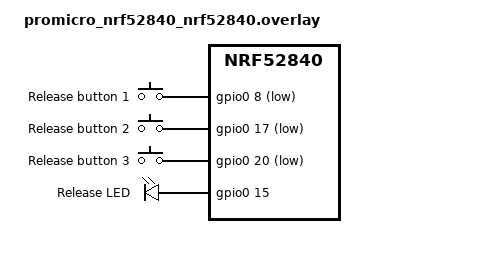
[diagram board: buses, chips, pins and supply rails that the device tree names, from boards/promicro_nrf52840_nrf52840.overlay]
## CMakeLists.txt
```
cmake_minimum_required(VERSION 3.20.0)
find_package(Zephyr REQUIRED HINTS $ENV{ZEPHYR_BASE})
project(halloween_release_tester)

target_sources(app PRIVATE
    src/main.c
    ../../common/fota.c
)
target_include_directories(app PRIVATE ../../common)
```

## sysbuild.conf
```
# Enable MCUboot so the app can be updated over BLE (nRF Connect Device Manager)
SB_CONFIG_BOOTLOADER_MCUBOOT=y
```

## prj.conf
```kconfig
CONFIG_GPIO=y

CONFIG_BT=y
CONFIG_BT_OBSERVER=y
CONFIG_BT_BROADCASTER=y
CONFIG_BT_DEVICE_NAME="ReleaseTester"

CONFIG_ENTROPY_GENERATOR=y

CONFIG_LOG=y
CONFIG_LOG_DEFAULT_LEVEL=3
# FOTA over BLE (MCUboot + MCUmgr SMP), updated from the nRF Connect Device Manager app
CONFIG_BT_PERIPHERAL=y
CONFIG_BT_MAX_CONN=1
CONFIG_BOOTLOADER_MCUBOOT=y
CONFIG_NET_BUF=y
CONFIG_ZCBOR=y
CONFIG_CRC=y
CONFIG_FLASH=y
CONFIG_FLASH_MAP=y
CONFIG_STREAM_FLASH=y
CONFIG_IMG_MANAGER=y
CONFIG_MCUMGR=y
CONFIG_MCUMGR_GRP_IMG=y
CONFIG_MCUMGR_GRP_OS=y
CONFIG_MCUMGR_GRP_OS_MCUMGR_PARAMS=y
CONFIG_MCUMGR_TRANSPORT_BT=y
CONFIG_MCUMGR_TRANSPORT_BT_CONN_PARAM_CONTROL=y
CONFIG_MCUMGR_TRANSPORT_BT_REASSEMBLY=y
CONFIG_MCUMGR_TRANSPORT_NETBUF_SIZE=2475
CONFIG_MCUMGR_TRANSPORT_WORKQUEUE_STACK_SIZE=4608
CONFIG_SYSTEM_WORKQUEUE_STACK_SIZE=2304
CONFIG_BT_L2CAP_TX_MTU=498
CONFIG_BT_BUF_ACL_RX_SIZE=502
CONFIG_BT_BUF_ACL_TX_SIZE=502
CONFIG_BT_CTLR_DATA_LENGTH_MAX=251
```

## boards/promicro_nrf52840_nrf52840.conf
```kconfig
CONFIG_USE_SEGGER_RTT=y
CONFIG_LOG_BACKEND_RTT=y
CONFIG_LOG_BACKEND_UART=n
CONFIG_SEGGER_RTT_BUFFER_SIZE_UP=4096
CONFIG_LOG_BUFFER_SIZE=4096
```

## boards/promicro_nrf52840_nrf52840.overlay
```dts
/*
 * Three buttons, each between its GPIO and GND (internal pull-ups): P0.08, P0.17, P0.20.
 * No LCD/keypad on this board. LED: P0.15 (the Pro Micro's LED, assumed active high).
 */
/ {
    release_buttons {
        compatible = "gpio-keys";
        release_button1: release_button_1 {
            gpios = <&gpio0 8 (GPIO_PULL_UP | GPIO_ACTIVE_LOW)>;
            label = "Release button 1";
        };
        release_button2: release_button_2 {
            gpios = <&gpio0 17 (GPIO_PULL_UP | GPIO_ACTIVE_LOW)>;
            label = "Release button 2";
        };
        release_button3: release_button_3 {
            gpios = <&gpio0 20 (GPIO_PULL_UP | GPIO_ACTIVE_LOW)>;
            label = "Release button 3";
        };
    };

    release_leds {
        compatible = "gpio-leds";
        release_led: release_led {
            gpios = <&gpio0 15 GPIO_ACTIVE_HIGH>;
            label = "Release LED";
        };
    };

    aliases {
        sw0 = &release_button1;
        sw1 = &release_button2;
        sw2 = &release_button3;
        led0 = &release_led;
    };
};
```

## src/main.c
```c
/* Pretends to be station 5: any button sends MSG_RELEASE_CANDY with a new session
 * and advertises it until the dispenser answers with MSG_CANDY_DONE. */
#include <stdbool.h>
#include <stdint.h>
#include <string.h>

#include <zephyr/kernel.h>
#include <zephyr/drivers/gpio.h>
#include <zephyr/bluetooth/bluetooth.h>
#include <zephyr/logging/log.h>
#include <zephyr/random/random.h>

#include "fota.h"

LOG_MODULE_REGISTER(tester, LOG_LEVEL_INF);

/* Protocol shared with the stations (see ../stations/src/main.c). */
#define HALLOWEEN_SERVICE_UUID 0xFFF0
#define PROTOCOL_VERSION 1
#define MAGIC_0 0x48
#define MAGIC_1 0x57
#define MSG_RELEASE_CANDY 4
#define MSG_CANDY_DONE 7
#define LAST_STATION_ID 5
#define DISPENSER_ID 0

#define SERVICE_DATA_LEN 13
#define CONFIRM_TIMEOUT_S 30

static const struct gpio_dt_spec buttons[] = {
    GPIO_DT_SPEC_GET(DT_ALIAS(sw0), gpios),
#if DT_NODE_EXISTS(DT_ALIAS(sw1))
    GPIO_DT_SPEC_GET(DT_ALIAS(sw1), gpios),
#endif
#if DT_NODE_EXISTS(DT_ALIAS(sw2))
    GPIO_DT_SPEC_GET(DT_ALIAS(sw2), gpios),
#endif
};
static const struct gpio_dt_spec led = GPIO_DT_SPEC_GET(DT_ALIAS(led0), gpios);
static struct gpio_callback button_cb[ARRAY_SIZE(buttons)];

K_SEM_DEFINE(press_sem, 0, 1);
K_SEM_DEFINE(done_sem, 0, 1);

static volatile uint16_t pending_session;
static uint8_t service_data[SERVICE_DATA_LEN];
static const uint8_t adv_flags = BT_LE_AD_GENERAL | BT_LE_AD_NO_BREDR;
static const struct bt_data ad[] = {
    BT_DATA(BT_DATA_FLAGS, &adv_flags, sizeof(adv_flags)),
    BT_DATA(BT_DATA_SVC_DATA16, service_data, sizeof(service_data)),
};

static void button_pressed(const struct device *dev, struct gpio_callback *cb,
                           uint32_t pins)
{
    k_sem_give(&press_sem);
}

static bool parse_service_data(struct bt_data *data, void *user_data)
{
    ARG_UNUSED(user_data);

    if (data->type != BT_DATA_SVC_DATA16 || data->data_len < SERVICE_DATA_LEN) {
        return true;
    }

    const uint8_t *d = data->data;

    if (d[0] != (uint8_t)(HALLOWEEN_SERVICE_UUID & 0xff) ||
        d[1] != (uint8_t)(HALLOWEEN_SERVICE_UUID >> 8) ||
        d[2] != MAGIC_0 || d[3] != MAGIC_1 || d[4] != PROTOCOL_VERSION ||
        d[5] != MSG_CANDY_DONE || d[6] != LAST_STATION_ID || d[7] != DISPENSER_ID) {
        return true;
    }

    uint16_t session = (uint16_t)d[8] | ((uint16_t)d[9] << 8);

    if (session == pending_session) {
        k_sem_give(&done_sem);
    }
    return false;
}

static void device_found(const bt_addr_le_t *addr, int8_t rssi, uint8_t adv_type,
                         struct net_buf_simple *ad_buf)
{
    ARG_UNUSED(addr);
    ARG_UNUSED(rssi);
    ARG_UNUSED(adv_type);

    if (pending_session != 0) {
        bt_data_parse(ad_buf, parse_service_data, NULL);
    }
}

static void fill_request(uint16_t session)
{
    service_data[0] = (uint8_t)(HALLOWEEN_SERVICE_UUID & 0xff);
    service_data[1] = (uint8_t)(HALLOWEEN_SERVICE_UUID >> 8);
    service_data[2] = MAGIC_0;
    service_data[3] = MAGIC_1;
    service_data[4] = PROTOCOL_VERSION;
    service_data[5] = MSG_RELEASE_CANDY;
    service_data[6] = DISPENSER_ID;
    service_data[7] = LAST_STATION_ID;
    service_data[8] = (uint8_t)(session & 0xff);
    service_data[9] = (uint8_t)(session >> 8);
    service_data[10] = 0;
    service_data[11] = 0;
    service_data[12] = 0;
}

static uint16_t new_session(void)
{
    uint16_t session;

    do {
        session = (uint16_t)sys_rand32_get();
    } while (session == 0 || session == pending_session);
    return session;
}

int main(void)
{
    int rc;

    if (!gpio_is_ready_dt(&led)) {
        LOG_ERR("LED GPIO not ready");
        return 0;
    }
    (void)gpio_pin_configure_dt(&led, GPIO_OUTPUT_INACTIVE);

    for (size_t i = 0; i < ARRAY_SIZE(buttons); i++) {
        if (!gpio_is_ready_dt(&buttons[i])) {
            LOG_ERR("Button %u GPIO not ready", (unsigned int)i + 1);
            return 0;
        }
        (void)gpio_pin_configure_dt(&buttons[i], GPIO_INPUT);
        gpio_init_callback(&button_cb[i], button_pressed, BIT(buttons[i].pin));
        (void)gpio_add_callback(buttons[i].port, &button_cb[i]);
        (void)gpio_pin_interrupt_configure_dt(&buttons[i], GPIO_INT_EDGE_TO_ACTIVE);
    }

    rc = bt_enable(NULL);
    if (rc < 0) {
        LOG_ERR("Bluetooth init failed: %d", rc);
        return 0;
    }

    /* Advertise an all-zero (ignored) beacon continuously so the board stays reachable for FOTA. */
    rc = fota_adv_start(ad, ARRAY_SIZE(ad), "RelTester");
    if (rc < 0) {
        LOG_ERR("BLE advertising start failed: %d", rc);
        return 0;
    }
    fota_confirm_image();

    rc = bt_le_scan_start(BT_LE_SCAN_PASSIVE, device_found);
    if (rc < 0) {
        LOG_ERR("BLE scan start failed: %d", rc);
        return 0;
    }

    LOG_INF("Release tester ready: press any button to request a candy");

    while (1) {
        k_sem_take(&press_sem, K_FOREVER);

        uint16_t session = new_session();

        fill_request(session);
        k_sem_reset(&done_sem);
        pending_session = session;

        rc = fota_adv_update(ad, ARRAY_SIZE(ad));
        if (rc < 0) {
            LOG_ERR("Advertising start failed: %d", rc);
            pending_session = 0;
            continue;
        }

        (void)gpio_pin_set_dt(&led, 1);
        LOG_INF("Requesting release (session=%u)", session);

        if (k_sem_take(&done_sem, K_SECONDS(CONFIRM_TIMEOUT_S)) == 0) {
            LOG_INF("Dispenser confirmed release (session=%u)", session);
        } else {
            LOG_WRN("No confirmation from dispenser within %d s", CONFIRM_TIMEOUT_S);
        }

        memset(service_data, 0, sizeof(service_data));
        (void)fota_adv_update(ad, ARRAY_SIZE(ad));
        (void)gpio_pin_set_dt(&led, 0);
        pending_session = 0;
        k_sem_reset(&press_sem);
    }
    return 0;
}
```
